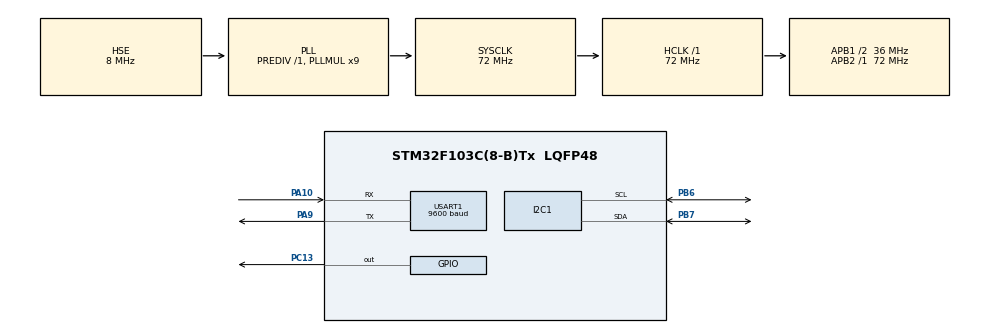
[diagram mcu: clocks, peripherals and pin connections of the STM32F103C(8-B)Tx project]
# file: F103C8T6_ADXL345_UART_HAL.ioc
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Mcu.Family=STM32F1
Mcu.Name=STM32F103C(8-B)Tx
Mcu.Package=LQFP48
NVIC.PriorityGroup=NVIC_PRIORITYGROUP_4
NVIC.TIM2_IRQn=true\:0\:0\:false\:false\:true\:true\:true\:true
PA10.Mode=Asynchronous
PA10.Signal=USART1_RX
PA13.Mode=Serial_Wire
PA13.Signal=SYS_JTMS-SWDIO
PA14.Mode=Serial_Wire
PA14.Signal=SYS_JTCK-SWCLK
PA9.Mode=Asynchronous
PA9.Signal=USART1_TX
PB6.Mode=I2C
PB6.Signal=I2C1_SCL
PB7.Mode=I2C
PB7.Signal=I2C1_SDA
PC13-TAMPER-RTC.Signal=GPIO_Output
PD0-OSC_IN.Mode=HSE-External-Oscillator
PD0-OSC_IN.Signal=RCC_OSC_IN
PD1-OSC_OUT.Mode=HSE-External-Oscillator
PD1-OSC_OUT.Signal=RCC_OSC_OUT
ProjectManager.HeapSize=0x200
ProjectManager.StackSize=0x400
ProjectManager.TargetToolchain=STM32CubeIDE
RCC.AHBFreq_Value=72000000
RCC.APB1CLKDivider=RCC_HCLK_DIV2
RCC.APB1Freq_Value=36000000
RCC.APB1TimFreq_Value=72000000
RCC.APB2Freq_Value=72000000
RCC.APB2TimFreq_Value=72000000
RCC.HCLKFreq_Value=72000000
RCC.PLLMUL=RCC_PLL_MUL9
RCC.PLLSourceVirtual=RCC_PLLSOURCE_HSE
RCC.SYSCLKFreq_VALUE=72000000
RCC.SYSCLKSource=RCC_SYSCLKSOURCE_PLLCLK
RCC.USBFreq_Value=72000000
TIM2.AutoReloadPreload=TIM_AUTORELOAD_PRELOAD_ENABLE
TIM2.Period=7200
TIM2.Prescaler=50000
USART1.BaudRate=9600
USART1.VirtualMode=VM_ASYNC
VP_TIM2_VS_ClockSourceINT.Mode=Internal
board=custom

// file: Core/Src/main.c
/* USER CODE BEGIN Header */
/**
  ******************************************************************************
  * @file           : main.c
  * @brief          : Main program body
  ******************************************************************************
  * @attention
  *
  * Copyright (c) 2022 STMicroelectronics.
  * All rights reserved.
  *
  * This software is licensed under terms that can be found in the LICENSE file
  * in the root directory of this software component.
  * If no LICENSE file comes with this software, it is provided AS-IS.
  *
  ******************************************************************************
  */
/* USER CODE END Header */
#include "main.h"
#include "i2c.h"
#include "tim.h"
#include "usart.h"
#include "gpio.h"

/* USER CODE BEGIN Includes */
#include "stdio.h"
#include "string.h"
#define adxl_address 0x53<<1
/* USER CODE END Includes */

/* USER CODE BEGIN PD */
static char* intro="ADXL345 Sensöründen İvme Verilerini Okuma\r\n";
char buffer[50];
uint8_t chipid=0;
uint8_t axis_data[6];
int16_t x_axis ,y_axis ,z_axis;
float xg,yg,zg;
uint8_t sample_tic=0;
/* USER CODE END PD */

void SystemClock_Config(void);

/* USER CODE BEGIN 0 */
void buffer_clear(char *buffer,uint8_t size){
	for (uint8_t i=0;i<size;i++){
		buffer[i]='\0';
	}
}
void adxl345_write(uint8_t adress,uint8_t value){
	uint8_t data[2];
	data[0]=adress; //Çok baytlı yazmayı aktif ediyoruz.
	data[1]=value;
	HAL_I2C_Master_Transmit (&hi2c1, adxl_address, data, 2, 100);
}
void adxl345_read(uint8_t adress){
	HAL_I2C_Mem_Read (&hi2c1, adxl_address, adress, 1, (uint8_t *)axis_data, 6, 100);
}
void adxl345_read_address (uint8_t adress)
{
	HAL_I2C_Mem_Read (&hi2c1, adxl_address, adress, 1, &chipid, 1, 100);
}
void adxl345_init(void){
	adxl345_read_address (0x00); // read the DEVID
	adxl345_write(0x31, 0x01); //Data format aralığı +/- 2g seçilir
	adxl345_write(0x2d, 0x00); //İlgili register temizlenir.
	adxl345_write(0x2d, 0x08); //Ölçüm modunda ve 8Hz 'de uyanma gerçekleşir.
}
void adxl345_Data_Collect(void){
	 adxl345_read(0x32);

		  x_axis=((axis_data[1]<<8) | axis_data[0]);
		  y_axis=((axis_data[3]<<8) | axis_data[2]);
		  z_axis=((axis_data[5]<<8) | axis_data[4]);

		  xg=x_axis*.0078125;
		  yg=y_axis*.0078125;
		  zg=z_axis*.0078125;
}
void data_push_to_serialport(void){
		  sprintf(buffer,"\r\nxg :%f\r\nyg :%f\r\nzg :%f\r\n",xg,yg,zg);
		  HAL_UART_Transmit(&huart1,(uint8_t*)buffer, sizeof(buffer), 100);
		  buffer_clear(buffer,50);
		  HAL_GPIO_TogglePin(GPIOC, GPIO_PIN_13);
}
/* USER CODE END 0 */

int main(void)
{

  /* MCU Configuration--------------------------------------------------------*/

  /* Reset of all peripherals, Initializes the Flash interface and the Systick. */
  HAL_Init();

  /* Configure the system clock */
  SystemClock_Config();

  /* Initialize all configured peripherals */
  MX_GPIO_Init();
  MX_USART1_UART_Init();
  MX_I2C1_Init();
  MX_TIM2_Init();
  /* USER CODE BEGIN 2 */
  HAL_TIM_Base_Start_IT(&htim2);
  adxl345_init();
  /* USER CODE END 2 */

  /* Infinite loop */
  /* USER CODE BEGIN WHILE */
  while (1)
  {
	 if (sample_tic==1){
		 HAL_NVIC_DisableIRQ(TIM2_IRQn);
	 	 HAL_UART_Transmit(&huart1, (uint8_t*)intro,42, 100);
		 sprintf(buffer,"\nChip ID :%u\r\n",chipid);
		 HAL_UART_Transmit(&huart1,(uint8_t*)buffer, sizeof(buffer), 100);
		 for(int i=0;i<3;i++){
			 adxl345_Data_Collect();
			 data_push_to_serialport();
		 }
		sample_tic=0;
		HAL_NVIC_EnableIRQ(TIM2_IRQn);
	 }
    /* USER CODE END WHILE */

  }
}

void SystemClock_Config(void)
{
  RCC_OscInitTypeDef RCC_OscInitStruct = {0};
  RCC_ClkInitTypeDef RCC_ClkInitStruct = {0};

  /** Initializes the RCC Oscillators according to the specified parameters
  * in the RCC_OscInitTypeDef structure.
  */
  RCC_OscInitStruct.OscillatorType = RCC_OSCILLATORTYPE_HSE;
  RCC_OscInitStruct.HSEState = RCC_HSE_ON;
  RCC_OscInitStruct.HSEPredivValue = RCC_HSE_PREDIV_DIV1;
  RCC_OscInitStruct.HSIState = RCC_HSI_ON;
  RCC_OscInitStruct.PLL.PLLState = RCC_PLL_ON;
  RCC_OscInitStruct.PLL.PLLSource = RCC_PLLSOURCE_HSE;
  RCC_OscInitStruct.PLL.PLLMUL = RCC_PLL_MUL9;
  if (HAL_RCC_OscConfig(&RCC_OscInitStruct) != HAL_OK)
  {
    Error_Handler();
  }

  /** Initializes the CPU, AHB and APB buses clocks
  */
  RCC_ClkInitStruct.ClockType = RCC_CLOCKTYPE_HCLK|RCC_CLOCKTYPE_SYSCLK
                              |RCC_CLOCKTYPE_PCLK1|RCC_CLOCKTYPE_PCLK2;
  RCC_ClkInitStruct.SYSCLKSource = RCC_SYSCLKSOURCE_PLLCLK;
  RCC_ClkInitStruct.AHBCLKDivider = RCC_SYSCLK_DIV1;
  RCC_ClkInitStruct.APB1CLKDivider = RCC_HCLK_DIV2;
  RCC_ClkInitStruct.APB2CLKDivider = RCC_HCLK_DIV1;

  if (HAL_RCC_ClockConfig(&RCC_ClkInitStruct, FLASH_LATENCY_2) != HAL_OK)
  {
    Error_Handler();
  }
}

void Error_Handler(void)
{
  __disable_irq();
  while (1)
  {
  }
}
